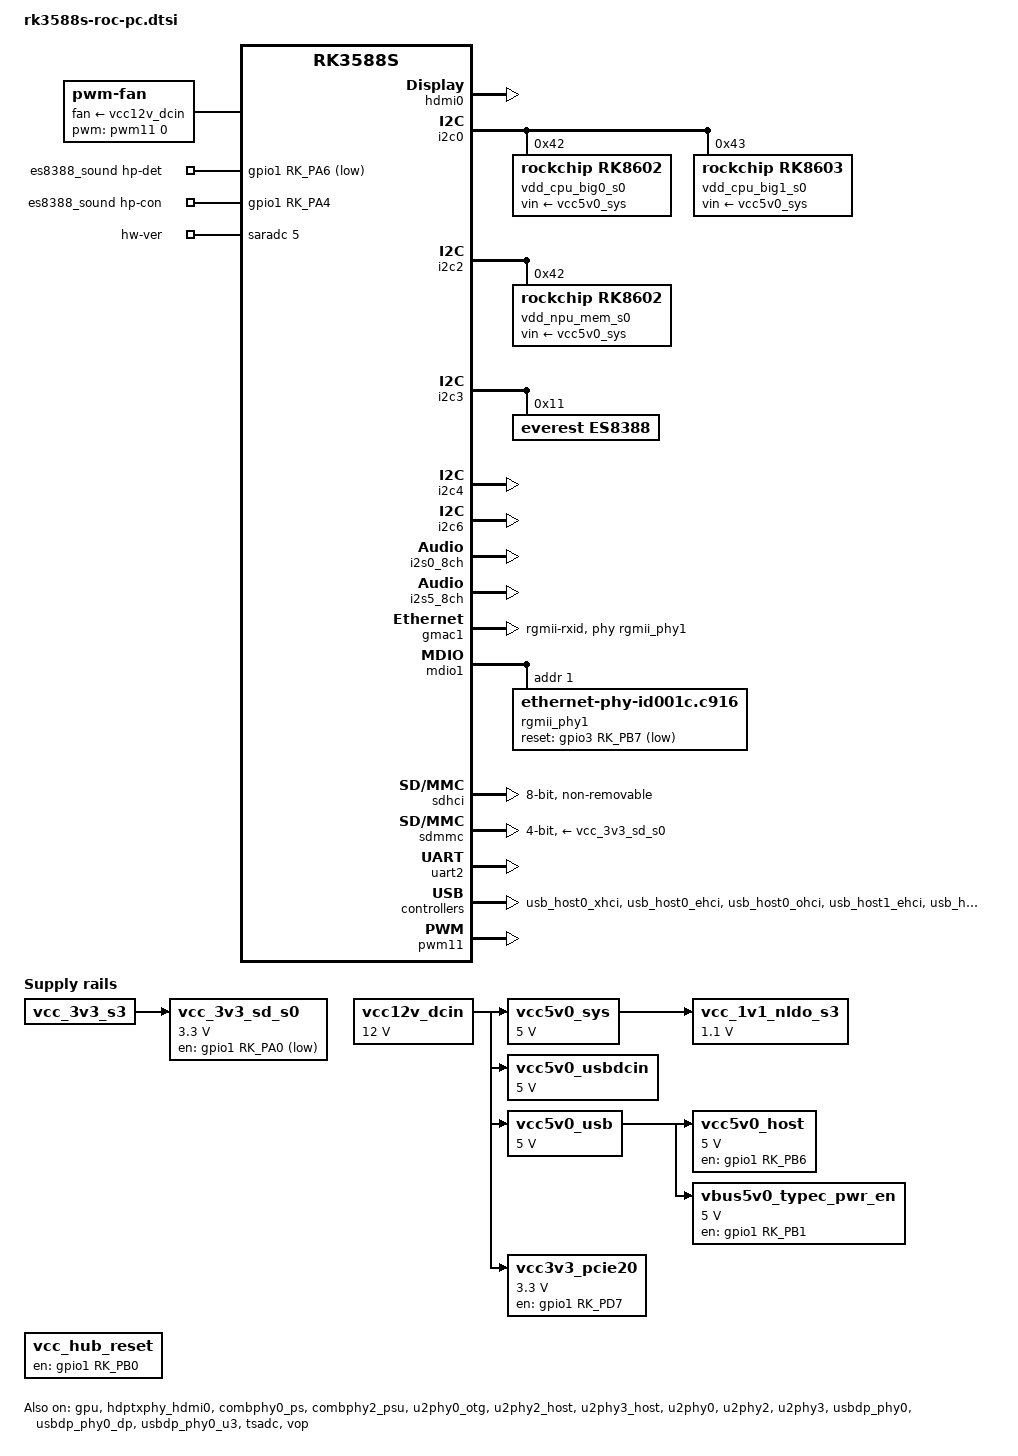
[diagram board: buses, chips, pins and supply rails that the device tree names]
// SPDX-License-Identifier: (GPL-2.0+ OR MIT)

/dts-v1/;

#include <dt-bindings/pwm/pwm.h>
#include <dt-bindings/usb/pd.h>
#include <dt-bindings/gpio/gpio.h>
#include <dt-bindings/input/input.h>
#include <dt-bindings/pinctrl/rockchip.h>
#include <dt-bindings/leds/common.h>
#include <dt-bindings/soc/rockchip,vop2.h>
#include "rk3588s.dtsi"
#include "rk3588-rk806-single.dtsi"

/ {
	chosen {
		stdout-path = "serial2:1500000n8";
	};

	reserved-memory {
		#address-cells = <2>;
		#size-cells = <2>;
		ranges;

		cma {
			compatible = "shared-dma-pool";
			reusable;
			size = <0x0 (16 * 0x100000)>;
			alloc-ranges = <0x0 0x0 0x1 0x0>;
			linux,cma-default;
		};

		ramoops: ramoops@110000 {
			compatible = "ramoops";
			reg = <0x0 0x110000 0x0 0xf0000>;
			record-size = <0x20000>;
			console-size = <0x80000>;
			ftrace-size = <0x00000>;
			pmsg-size = <0x50000>;
		};
	};

	vcc12v_dcin: vcc12v-dcin-regulator {
		compatible = "regulator-fixed";
		regulator-name = "vcc12v_dcin";
		regulator-always-on;
		regulator-boot-on;
		regulator-min-microvolt = <12000000>;
		regulator-max-microvolt = <12000000>;
	};

	vcc5v0_sys: vcc5v0-sys-regulator {
		compatible = "regulator-fixed";
		regulator-name = "vcc5v0_sys";
		regulator-always-on;
		regulator-boot-on;
		regulator-min-microvolt = <5000000>;
		regulator-max-microvolt = <5000000>;
		vin-supply = <&vcc12v_dcin>;
	};

	vcc5v0_usbdcin: vcc5v0-usbdcin {
		compatible = "regulator-fixed";
		regulator-name = "vcc5v0_usbdcin";
		regulator-always-on;
		regulator-boot-on;
		regulator-min-microvolt = <5000000>;
		regulator-max-microvolt = <5000000>;
		vin-supply = <&vcc12v_dcin>;
	};

	vcc5v0_usb: vcc5v0-usb {
		compatible = "regulator-fixed";
		regulator-name = "vcc5v0_usb";
		regulator-always-on;
		regulator-boot-on;
		regulator-min-microvolt = <5000000>;
		regulator-max-microvolt = <5000000>;
		vin-supply = <&vcc12v_dcin>;
	};

	vcc_1v1_nldo_s3: vcc-1v1-nldo-s3 {
		compatible = "regulator-fixed";
		regulator-name = "vcc_1v1_nldo_s3";
		regulator-always-on;
		regulator-boot-on;
		regulator-min-microvolt = <1100000>;
		regulator-max-microvolt = <1100000>;
		vin-supply = <&vcc5v0_sys>;
	};

	vcc5v0_host: vcc5v0-host {
		compatible = "regulator-fixed";
		regulator-name = "vcc5v0_host";
		regulator-boot-on;
		regulator-always-on;
		regulator-min-microvolt = <5000000>;
		regulator-max-microvolt = <5000000>;
		enable-active-high;
		gpio = <&gpio1 RK_PB6 GPIO_ACTIVE_HIGH>;
		vin-supply = <&vcc5v0_usb>;
		pinctrl-names = "default";
		pinctrl-0 = <&vcc5v0_host_en>;
	 	reset-delay-us = <200000>;
		startup-delay-us = <1200000>;
	};

	vcc_hub_reset: vcc-hub-reset-regulator {
		compatible = "regulator-fixed"; 
		regulator-name = "vcc_hub_reset";
		regulator-boot-on;
		regulator-always-on; 
		enable-active-high;
		gpio = <&gpio1 RK_PB0 GPIO_ACTIVE_HIGH>;
	};

	vbus5v0_typec_pwr_en: vbus5v0-typec-pwr-en-regulator {
		compatible = "regulator-fixed";
		regulator-name = "vbus5v0_typec_pwr_en";
		enable-active-high;
		gpio = <&gpio1 RK_PB1 GPIO_ACTIVE_HIGH>;
		regulator-min-microvolt = <5000000>;
		regulator-max-microvolt = <5000000>;
		vin-supply = <&vcc5v0_usb>;
		pinctrl-names = "default";
		pinctrl-0 = <&typec5v_pwren>;
	};

	fan: pwm-fan {
		compatible = "pwm-fan";
		#cooling-cells = <2>;
		fan-supply = <&vcc12v_dcin>;
		pwms = <&pwm11 0 50000 1>;
	};

	vcc3v3_pcie20: vcc3v3-pcie20 {
		compatible = "regulator-fixed";
		regulator-name = "vcc3v3_pcie20";
		regulator-min-microvolt = <3300000>;
		regulator-max-microvolt = <3300000>;
		regulator-always-on;
		enable-active-high;
		gpios = <&gpio1 RK_PD7 GPIO_ACTIVE_HIGH>;
		startup-delay-us = <5000>;
		vin-supply = <&vcc12v_dcin>;
	};

	vcc_3v3_sd_s0: vcc-3v3-sd-s0 {
		compatible = "regulator-fixed";
		regulator-name = "vcc_3v3_sd_s0";
		regulator-min-microvolt = <3300000>;
		regulator-max-microvolt = <3300000>;
		gpios = <&gpio1 RK_PA0 GPIO_ACTIVE_LOW>;
		enable-active-low;
		vin-supply = <&vcc_3v3_s3>;
			regulator-state-mem {
			regulator-off-in-suspend;
		};
	};

	lcd_rst: lcd_rst {
		status = "disabled";
		compatible = "regulator-fixed";
		regulator-name = "lcd_rst";
		regulator-boot-on;
		regulator-always-on;
		regulator-min-microvolt = <3300000>;
		regulator-max-microvolt = <3300000>;
		enable-active-high;
		gpio = <&gpio1 RK_PA1 GPIO_ACTIVE_HIGH>;
		startup-delay-us = <2000>;
		vin-supply = <&vcc12v_dcin>;
	};

	lcd_en: lcd_en {
		status = "disabled";
		compatible = "regulator-fixed";
		regulator-name = "lcd_en";
		regulator-boot-on;
		regulator-always-on;
		regulator-min-microvolt = <3300000>;
		regulator-max-microvolt = <3300000>;
		enable-active-high;
		gpio = <&gpio1 RK_PB3 GPIO_ACTIVE_HIGH>;
		vin-supply = <&vcc12v_dcin>;
	};

	hdmi0_sound: hdmi0-sound {
		status = "okay";
		compatible = "rockchip,hdmi";
		rockchip,mclk-fs = <128>;
		rockchip,card-name = "rockchip-hdmi0";
		rockchip,cpu = <&i2s5_8ch>;
		rockchip,codec = <&hdmi0>;
		rockchip,jack-det;
	};

	es8388_sound: es8388-sound {
		status = "okay";
		compatible = "simple-audio-card";
		rockchip,card-name = "rockchip-es8388";
		hp-det-gpio = <&gpio1 RK_PA6 GPIO_ACTIVE_LOW>;
		hp-con-gpio = <&gpio1 RK_PA4 GPIO_ACTIVE_HIGH>;
		hw-ver =<0x1>;
		io-channels = <&saradc 5>;
		io-channel-names = "hw-ver";
		linein-type = <1>;
		rockchip,format = "i2s";
		rockchip,mclk-fs = <256>;
		rockchip,cpu = <&i2s0_8ch>;
		rockchip,codec = <&es8388>;
		rockchip,audio-routing =
			"Headphone", "LOUT2",
			"Headphone", "ROUT2",
			"Speaker", "LOUT1",
			"Speaker", "ROUT1",
			"Headphone", "Headphone Power",
			"Headphone", "Headphone Power",
			"LINPUT1", "Main Mic",
			"RINPUT1", "Main Mic",
			"LINPUT2", "Headset Mic",
			"RINPUT2", "Headset Mic";
		pinctrl-names = "default";
		pinctrl-0 = <&hp_det>;
	};


/*
	es8388_sound: es8388-sound {
		status = "okay";
		compatible = "rockchip,multicodecs-card";
		rockchip,card-name = "rockchip-es8388";
		hp-det-gpio = <&gpio1 RK_PA6 GPIO_ACTIVE_LOW>;
		hp-con-gpio = <&gpio1 RK_PA4 GPIO_ACTIVE_HIGH>;
		hw-ver =<0x1>;
		io-channels = <&saradc 5>;
		io-channel-names = "hw-ver";
		linein-type = <1>;
		rockchip,format = "i2s";
		rockchip,mclk-fs = <384>;
		rockchip,cpu = <&i2s0_8ch>;
		rockchip,codec = <&es8388>;
		rockchip,audio-routing =
			"Headphone", "LOUT2",
			"Headphone", "ROUT2",
			"Speaker", "LOUT1",
			"Speaker", "ROUT1",
			"Headphone", "Headphone Power",
			"Headphone", "Headphone Power",
			"LINPUT1", "Main Mic",
			"RINPUT1", "Main Mic",
			"LINPUT2", "Headset Mic",
			"RINPUT2", "Headset Mic";
		pinctrl-names = "default";
		pinctrl-0 = <&hp_det>;
	};
*/


/*
&es8388_sound {
	status = "okay";
	hp-det-gpio = <&gpio1 RK_PA6 GPIO_ACTIVE_LOW>;
	hp-con-gpio = <&gpio1 RK_PA4 GPIO_ACTIVE_HIGH>;

//	/delete-property/ spk-con-gpio;
	
//	io-channels = <&saradc 5>;
	io-channel-names = "hw-ver";
	rockchip,audio-routing =
			"Headphone", "LOUT2",
			"Headphone", "ROUT2",
			"Speaker", "LOUT1",
			"Speaker", "ROUT1",
			"Headphone", "Headphone Power",
			"Headphone", "Headphone Power",
			"LINPUT1", "Main Mic",
			"LINPUT2", "Main Mic",
			"RINPUT1", "Headset Mic",
			"RINPUT2", "Headset Mic";
	linein-type = <1>;
	pinctrl-names = "default";
	pinctrl-0 = <&hp_det>;
};
*/



/*
	analog-sound {
		compatible = "simple-audio-card";
		pinctrl-names = "default";
		pinctrl-0 = <&hp_detect>;
		simple-audio-card,name = "RK3588 EVB1 Audio";
		simple-audio-card,aux-devs = <&amp_headphone>, <&amp_speaker>;
		simple-audio-card,bitclock-master = <&masterdai>;
		simple-audio-card,format = "i2s";
		simple-audio-card,frame-master = <&masterdai>;
		simple-audio-card,hp-det-gpio = <&gpio1 RK_PC4 GPIO_ACTIVE_LOW>;
		simple-audio-card,mclk-fs = <256>;
		simple-audio-card,pin-switches = "Headphones", "Speaker";
		simple-audio-card,routing =
			"Speaker Amplifier INL", "LOUT2",
			"Speaker Amplifier INR", "ROUT2",
			"Speaker", "Speaker Amplifier OUTL",
			"Speaker", "Speaker Amplifier OUTR",
			"Headphones Amplifier INL", "LOUT1",
			"Headphones Amplifier INR", "ROUT1",
			"Headphones", "Headphones Amplifier OUTL",
			"Headphones", "Headphones Amplifier OUTR",
			"LINPUT1", "Onboard Microphone",
			"RINPUT1", "Onboard Microphone",
			"LINPUT2", "Microphone Jack",
			"RINPUT2", "Microphone Jack";
		simple-audio-card,widgets =
			"Microphone", "Microphone Jack",
			"Microphone", "Onboard Microphone",
			"Headphone", "Headphones",
			"Speaker", "Speaker";

		simple-audio-card,cpu {
			sound-dai = <&i2s0_8ch>;
		};

		masterdai: simple-audio-card,codec {
			sound-dai = <&es8388>;
			system-clock-frequency = <12288000>;
		};
	};

	amp_headphone: headphone-amplifier {
		compatible = "simple-audio-amplifier";
		enable-gpios = <&gpio3 RK_PB2 GPIO_ACTIVE_HIGH>;
		pinctrl-names = "default";
		pinctrl-0 = <&headphone_amplifier_en>;
		sound-name-prefix = "Headphones Amplifier";
	};

	amp_speaker: speaker-amplifier {
		compatible = "simple-audio-amplifier";
		enable-gpios = <&gpio4 RK_PB0 GPIO_ACTIVE_HIGH>;
		pinctrl-names = "default";
		pinctrl-0 = <&speaker_amplifier_en>;
		sound-name-prefix = "Speaker Amplifier";
	};
*/


};

&cpu_b0 {
	cpu-supply = <&vdd_cpu_big0_s0>;
};

&cpu_b1 {
	cpu-supply = <&vdd_cpu_big0_s0>;
};

&cpu_b2 {
	cpu-supply = <&vdd_cpu_big1_s0>;
};

&cpu_b3 {
	cpu-supply = <&vdd_cpu_big1_s0>;
};

&gpu {
	mali-supply = <&vdd_gpu_s0>;
	sram-supply = <&vdd_gpu_mem_s0>;
	status = "okay";
};

//&display_subsystem {
//	clocks = <&hdptxphy_hdmi0>;
//	clock-names = "hdmi0_phy_pll";
//};

&hdmi0 {
	status = "okay";
};

&hdmi0_sound {
	status = "okay";
};

&hdmi0_in {
	hdmi0_in_vp0: endpoint {
		remote-endpoint = <&vp0_out_hdmi0>;
	};
};

&hdptxphy_hdmi0 {
	status = "okay";
};

&i2c0 {
	pinctrl-names = "default";
	pinctrl-0 = <&i2c0m2_xfer>;
	status = "okay";

	vdd_cpu_big0_s0: regulator@42 {
		compatible = "rockchip,rk8602";
		reg = <0x42>;
		fcs,suspend-voltage-selector = <1>;
		regulator-name = "vdd_cpu_big0_s0";
		regulator-always-on;
		regulator-boot-on;
		regulator-min-microvolt = <550000>;
		regulator-max-microvolt = <1050000>;
		regulator-ramp-delay = <2300>;
		vin-supply = <&vcc5v0_sys>;

		regulator-state-mem {
			regulator-off-in-suspend;
		};
	};

	vdd_cpu_big1_s0: regulator@43 {
		compatible = "rockchip,rk8603", "rockchip,rk8602";
		reg = <0x43>;
		fcs,suspend-voltage-selector = <1>;
		regulator-name = "vdd_cpu_big1_s0";
		regulator-always-on;
		regulator-boot-on;
		regulator-min-microvolt = <550000>;
		regulator-max-microvolt = <1050000>;
		regulator-ramp-delay = <2300>;
		vin-supply = <&vcc5v0_sys>;

		regulator-state-mem {
			regulator-off-in-suspend;
		};
	};
};

&i2c2 {
	status = "okay";

	vdd_npu_mem_s0: rk8602@42 {
		compatible = "rockchip,rk8602";
		reg = <0x42>;
		vin-supply = <&vcc5v0_sys>;
		regulator-compatible = "rk860x-reg";
		regulator-name = "vdd_npu_s0";
		regulator-min-microvolt = <550000>;
		regulator-max-microvolt = <950000>;
		regulator-ramp-delay = <2300>;
		rockchip,suspend-voltage-selector = <1>;
		regulator-boot-on;
		regulator-always-on;
		regulator-state-mem {
			regulator-off-in-suspend;
		};
	};
};

&i2c3 {
	status = "okay";
	es8388: es8388@11 {
		status = "okay";
		#sound-dai-cells = <0>;
		compatible = "everest,es8388";
		reg = <0x11>;
		clocks = <&cru I2S0_8CH_MCLKOUT>;
		clock-names = "mclk";
		assigned-clocks = <&cru I2S0_8CH_MCLKOUT>;
		assigned-clock-rates = <12288000>;
		pinctrl-names = "default";
		pinctrl-0 = <&i2s0_mclk>;
	};
};

/*
&i2c3 {
	status = "okay";

	es8388: audio-codec@11 {
		compatible = "everest,es8388";
		reg = <0x11>;
		clocks = <&cru I2S0_8CH_MCLKOUT>;
		assigned-clocks = <&cru I2S0_8CH_MCLKOUT>;
		assigned-clock-rates = <12288000>;
		AVDD-supply = <&avcc_1v8_codec_s0>;
		DVDD-supply = <&avcc_1v8_codec_s0>;
		HPVDD-supply = <&vcc_3v3_s0>;
		PVDD-supply = <&vcc_3v3_s0>;
		#sound-dai-cells = <0>;
	};
};
*/

&i2c4 {
	status = "okay";
	pinctrl-names = "default";
	pinctrl-0 = <&i2c4m3_xfer>;
};

&i2c5 {
	status = "disabled";
};

&i2c6 {
	status = "okay";
   	pinctrl-names = "default";
    pinctrl-0 = <&i2c6m3_xfer>;
};

&i2s0_8ch {
	status = "okay";
	pinctrl-0 = <&i2s0_lrck
		     &i2s0_sclk
		     &i2s0_sdi0
		     &i2s0_sdo0>;
};

/*
&i2s0_8ch {
	pinctrl-0 = <&i2s0_lrck
		     &i2s0_mclk
		     &i2s0_sclk
		     &i2s0_sdi0
		     &i2s0_sdo0>;
	status = "okay";
};
*/

&i2s5_8ch {
	status = "okay";
};

&gmac1 {
	clock_in_out = "output";
	phy-handle = <&rgmii_phy1>;
	phy-mode = "rgmii-rxid";
	pinctrl-0 = <&gmac1_miim
		     &gmac1_tx_bus2
		     &gmac1_rx_bus2
		     &gmac1_rgmii_clk
		     &gmac1_rgmii_bus>;
	pinctrl-names = "default";
	tx_delay = <0x43>;
	status = "okay";
};

&mdio1 {
	rgmii_phy1: ethernet-phy@1 {
		/* RTL8211F */
		compatible = "ethernet-phy-id001c.c916";
		reg = <0x1>;
		pinctrl-names = "default";
		pinctrl-0 = <&rtl8211f_rst>;
		reset-assert-us = <20000>;
		reset-deassert-us = <100000>;
		reset-gpios = <&gpio3 RK_PB7 GPIO_ACTIVE_LOW>;
	};
};

&sdhci {
	bus-width = <8>;
	no-sdio;
	no-sd;
	non-removable;
	max-frequency = <200000000>;
	mmc-hs400-1_8v;
	mmc-hs400-enhanced-strobe;
	status = "okay";
};

&sdmmc {
	max-frequency = <150000000>;
	no-sdio;
	no-mmc;
	bus-width = <4>;
	cap-mmc-highspeed;
	cap-sd-highspeed;
	disable-wp;
	sd-uhs-sdr104;
	vmmc-supply = <&vcc_3v3_sd_s0>;
	vqmmc-supply = <&vccio_sd_s0>;
	pinctrl-names = "default";
	pinctrl-0 = <&sdmmc_bus4 &sdmmc_clk &sdmmc_cmd &sdmmc_det>;
	status = "okay";
};

&uart2 {
	pinctrl-0 = <&uart2m0_xfer>;
	status = "okay";
};

/* default use sata3.0 , pcie2.0 optional*/
&combphy0_ps {
	status = "okay";
};

/* usb3.0 */
&combphy2_psu {
	status = "okay";
};

&u2phy0_otg { 
	rockchip,typec-vbus-det; 
}; 

&u2phy2_host { 
	phy-supply = <&vcc5v0_host>; 
}; 

&u2phy3_host { 
	phy-supply = <&vcc5v0_host>; 
};

//&usbdrd_dwc3_0 {
//	dr_mode = "otg";
//	usb-role-switch;
//	port {
//		#address-cells = <1>;
//		#size-cells = <0>;
//		dwc3_0_role_switch: endpoint@0 {
//			reg = <0>;
////			remote-endpoint = <&usbc0_role_sw>;
//		};
//	};
//};

&usb_host0_xhci {
	usb-role-switch;
	status = "okay";

	port {
		#address-cells = <1>;
		#size-cells = <0>;

		dwc3_0_role_switch: endpoint {
//			remote-endpoint = <&usbc0_role_sw>;
		};
	};
};


//&usbhost3_0 {
//	status = "disabled";
//};

//&usbhost_dwc3_0 {
//	status = "disabled";
//};

&u2phy0 {
	status = "okay";
};

&u2phy2 {
	status = "okay";
};

&u2phy3 {
	status = "okay";
};

&u2phy0_otg {
	status = "okay";
};

&u2phy2_host {
	status = "okay";
};

&u2phy3_host {
	status = "okay";
};

&usb_host0_ehci {
	status = "okay";
};

&usb_host0_ohci {
	status = "okay";
};

&usb_host1_ehci {
	status = "okay";
};

&usb_host1_ohci {
	status = "okay";
};

&usbdp_phy0 {
	status = "okay";
};

&usbdp_phy0_dp {
	status = "okay";
};

&usbdp_phy0_u3 {
	status = "okay";
};

&usb_host0_xhci {
	status = "okay";
};

//&usbdrd_dwc3_0 {
//	dr_mode = "otg";
//	status = "okay";
//};

&usb_host2_xhci{
	status = "okay";
};

//&usbhost_dwc3_0 {
//	status = "okay";
//	dr_mode = "host";
//};

&i2c3 {
	status = "okay";
};

&i2c4 {
	status = "okay";
	pinctrl-names = "default";
	pinctrl-0 = <&i2c4m3_xfer>;
};

&i2c5 {
	status = "disabled";
};

&i2c6 {
	status = "okay";
   	pinctrl-names = "default";
	pinctrl-0 = <&i2c6m3_xfer>;
};

/* fan */
&pwm11 {
	pinctrl-0 = <&pwm11m3_pins>;
	status = "okay";
};

&tsadc {
	status = "okay";
};

&pinctrl {
	rtl8211f {
		rtl8211f_rst: rtl8211f-rst {
			rockchip,pins = <3 RK_PB7 RK_FUNC_GPIO &pcfg_pull_none>;
		};
	};

	headphone {
		hp_det: hp-det {
			rockchip,pins = <1 RK_PA6 RK_FUNC_GPIO &pcfg_pull_none>;
		};
	};

/*
	audio {
		hp_detect: headphone-detect {
			rockchip,pins = <1 RK_PC4 RK_FUNC_GPIO &pcfg_pull_none>;
		};

		headphone_amplifier_en: headphone-amplifier-en {
			rockchip,pins = <3 RK_PB2 RK_FUNC_GPIO &pcfg_pull_none>;
		};

		speaker_amplifier_en: speaker-amplifier-en {
			rockchip,pins = <4 RK_PB0 RK_FUNC_GPIO &pcfg_pull_none>;
		};
	};
*/

	usb {
		vcc5v0_host_en: vcc5v0-host-en {
			rockchip,pins = <1 RK_PB6 RK_FUNC_GPIO &pcfg_pull_none>;
		};
	};

	usb-typec {
		usbc0_int: usbc0-int {
			rockchip,pins = <0 RK_PC4 RK_FUNC_GPIO &pcfg_pull_up>;
		};

		typec5v_pwren: typec5v-pwren {
			rockchip,pins = <1 RK_PB1 RK_FUNC_GPIO &pcfg_pull_none>;
		};
	};

	hdmirx {
		hdmirx_det: hdmirx-det {
			rockchip,pins = <1 RK_PC6 RK_FUNC_GPIO &pcfg_pull_none>;
		};
	};
};

&vop_mmu {
	status = "okay";
};

&vop {
	status = "okay";
};

&vp0 {
	vp0_out_hdmi0: endpoint@ROCKCHIP_VOP2_EP_HDMI0 {
		reg = <ROCKCHIP_VOP2_EP_HDMI0>;
		remote-endpoint = <&hdmi0_in_vp0>;
	};
};
